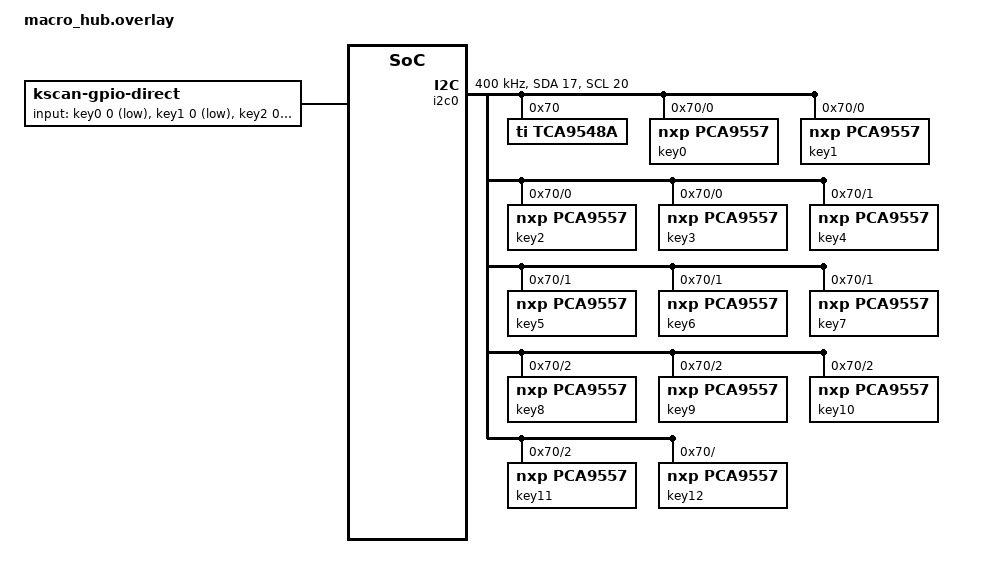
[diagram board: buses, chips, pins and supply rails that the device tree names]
&i2c0 {
    status = "okay";
    sda-pin = <17>;
    scl-pin = <20>;
    clock-frequency = <I2C_BITRATE_FAST>;

    tca9548a: tca9548a@70 {
        compatible = "ti,tca9548a";
        reg = <0x70>;
        #address-cells = <1>;
        #size-cells = <0>;

        i2c@0 {
            reg = <0>;
            #address-cells = <1>;
            #size-cells = <0>;

            key0: pca9557@0x20 { compatible = "nxp,pca9557"; reg = <0x0x20>; gpio-controller; #gpio-cells = <2>; };
            key1: pca9557@0x21 { compatible = "nxp,pca9557"; reg = <0x0x21>; gpio-controller; #gpio-cells = <2>; };
            key2: pca9557@0x22 { compatible = "nxp,pca9557"; reg = <0x0x22>; gpio-controller; #gpio-cells = <2>; };
            key3: pca9557@0x23 { compatible = "nxp,pca9557"; reg = <0x0x23>; gpio-controller; #gpio-cells = <2>; };
        };

        i2c@1 {
            reg = <1>;
            #address-cells = <1>;
            #size-cells = <0>;

            key4: pca9557@0x20 { compatible = "nxp,pca9557"; reg = <0x0x20>; gpio-controller; #gpio-cells = <2>; };
            key5: pca9557@0x21 { compatible = "nxp,pca9557"; reg = <0x0x21>; gpio-controller; #gpio-cells = <2>; };
            key6: pca9557@0x22 { compatible = "nxp,pca9557"; reg = <0x0x22>; gpio-controller; #gpio-cells = <2>; };
            key7: pca9557@0x23 { compatible = "nxp,pca9557"; reg = <0x0x23>; gpio-controller; #gpio-cells = <2>; };
        };

        i2c@2 {
            reg = <2>;
            #address-cells = <1>;
            #size-cells = <0>;

            key8: pca9557@0x20 { compatible = "nxp,pca9557"; reg = <0x0x20>; gpio-controller; #gpio-cells = <2>; };
            key9: pca9557@0x21 { compatible = "nxp,pca9557"; reg = <0x0x21>; gpio-controller; #gpio-cells = <2>; };
            key10: pca9557@0x22 { compatible = "nxp,pca9557"; reg = <0x0x22>; gpio-controller; #gpio-cells = <2>; };
            key11: pca9557@0x23 { compatible = "nxp,pca9557"; reg = <0x0x23>; gpio-controller; #gpio-cells = <2>; };
        };

        i2c@demo {
            reg = <demo>;
            #address-cells = <1>;
            #size-cells = <0>;

            key12: pca9557@demo_1793926115980 { compatible = "nxp,pca9557"; reg = <0xdemo_1793926115980>; gpio-controller; #gpio-cells = <2>; };
        };

    };
};

/ {
    kscan0: kscan0 {
        compatible = "zmk,kscan-gpio-direct";
        label = "KSCAN";
        input-gpios =
            <&key0 0 (GPIO_ACTIVE_LOW | GPIO_PULL_UP)>,
            <&key1 0 (GPIO_ACTIVE_LOW | GPIO_PULL_UP)>,
            <&key2 0 (GPIO_ACTIVE_LOW | GPIO_PULL_UP)>,
            <&key3 0 (GPIO_ACTIVE_LOW | GPIO_PULL_UP)>,
            <&key4 0 (GPIO_ACTIVE_LOW | GPIO_PULL_UP)>,
            <&key5 0 (GPIO_ACTIVE_LOW | GPIO_PULL_UP)>,
            <&key6 0 (GPIO_ACTIVE_LOW | GPIO_PULL_UP)>,
            <&key7 0 (GPIO_ACTIVE_LOW | GPIO_PULL_UP)>,
            <&key8 0 (GPIO_ACTIVE_LOW | GPIO_PULL_UP)>,
            <&key9 0 (GPIO_ACTIVE_LOW | GPIO_PULL_UP)>,
            <&key10 0 (GPIO_ACTIVE_LOW | GPIO_PULL_UP)>,
            <&key11 0 (GPIO_ACTIVE_LOW | GPIO_PULL_UP)>,
            <&key12 0 (GPIO_ACTIVE_LOW | GPIO_PULL_UP)>;
    };

    cdc_acm_uart0: cdc_acm_uart0 {
        compatible = "zephyr,cdc-acm-uart";
        label = "CDC_ACM_0";
    };
};
